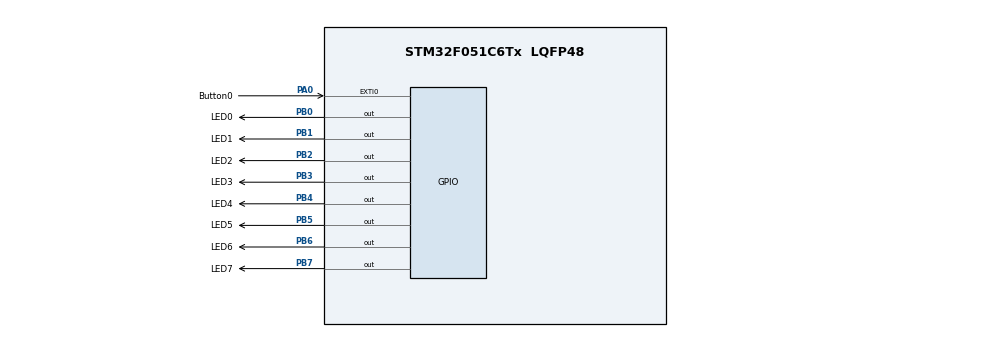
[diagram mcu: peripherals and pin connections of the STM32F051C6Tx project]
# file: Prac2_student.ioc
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Mcu.Family=STM32F0
Mcu.Name=STM32F051C6Tx
Mcu.Package=LQFP48
PA0.GPIO_Label=Button0
PA0.GPIO_ModeDefaultEXTI=GPIO_MODE_IT_RISING
PA0.GPIO_PuPd=GPIO_PULLUP
PA0.Signal=GPXTI0
PA13.Mode=Serial_Wire
PA13.Signal=SYS_SWDIO
PA14.Mode=Serial_Wire
PA14.Signal=SYS_SWCLK
PB0.GPIO_Label=LED0
PB0.Signal=GPIO_Output
PB1.GPIO_Label=LED1
PB1.Signal=GPIO_Output
PB2.GPIO_Label=LED2
PB2.Signal=GPIO_Output
PB3.GPIO_Label=LED3
PB3.Signal=GPIO_Output
PB4.GPIO_Label=LED4
PB4.Signal=GPIO_Output
PB5.GPIO_Label=LED5
PB5.Signal=GPIO_Output
PB6.GPIO_Label=LED6
PB6.Signal=GPIO_Output
PB7.GPIO_Label=LED7
PB7.Signal=GPIO_Output
PF0-OSC_IN.Mode=HSE-External-Oscillator
PF0-OSC_IN.Signal=RCC_OSC_IN
PF1-OSC_OUT.Mode=HSE-External-Oscillator
PF1-OSC_OUT.Signal=RCC_OSC_OUT
ProjectManager.HeapSize=0x200
ProjectManager.StackSize=0x400
ProjectManager.TargetToolchain=STM32CubeIDE
TIM16.AutoReloadPreload=TIM_AUTORELOAD_PRELOAD_ENABLE
TIM16.Period=1000-1
TIM16.Prescaler=8000-1
VP_TIM16_VS_ClockSourceINT.Mode=Enable_Timer
board=custom

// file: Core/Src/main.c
/* USER CODE BEGIN Header */
/**
  ******************************************************************************
  * @file           : main.c
  * @brief          : Main program body
  ******************************************************************************
  * @attention
  *
  * Copyright (c) 2023 STMicroelectronics.
  * All rights reserved.
  *
  * This software is licensed under terms that can be found in the LICENSE file
  * in the root directory of this software component.
  * If no LICENSE file comes with this software, it is provided AS-IS.
  *
  ******************************************************************************
  */
/* USER CODE END Header */
#include "main.h"

/* USER CODE BEGIN Includes */
#include <stdint.h>
#include "stm32f0xx.h"
/* USER CODE END Includes */

/* USER CODE BEGIN PD */

// Definitions for SPI usage
#define MEM_SIZE 8192 // bytes
#define WREN 0b00000110 // enable writing
#define WRDI 0b00000100 // disable writing
#define RDSR 0b00000101 // read status register
#define WRSR 0b00000001 // write status register
#define READ 0b00000011
#define WRITE 0b00000010

//my defintions
#define MAX_COUNTER 5
#define ERROR_PATTERN 0b00000001
#define ONE_SECOND_ARR 999
#define HALF_SECOND_ARR 499
/* USER CODE END PD */

TIM_HandleTypeDef htim16;

/* USER CODE BEGIN PV */
// TODO: Define any input variables
static uint8_t patterns[] = {0b10101010, 0b01010101, 0b11001100, 0b00110011, 0b11110000, 0b00001111};
int counter = -1;
uint8_t LedPattern;
static uint8_t button_was_pressed = 0;

/* USER CODE END PV */

void SystemClock_Config(void);
static void MX_GPIO_Init(void);
static void MX_TIM16_Init(void);
/* USER CODE BEGIN PFP */
void EXTI0_1_IRQHandler(void);
void TIM16_IRQHandler(void);
static void init_spi(void);
static void write_to_address(uint16_t address, uint8_t data);
static uint8_t read_from_address(uint16_t address);
static void delay(uint32_t delay_in_us);
void change_delay(void);
/* USER CODE END PFP */

int main(void)
{

  /* MCU Configuration--------------------------------------------------------*/

  /* Reset of all peripherals, Initializes the Flash interface and the Systick. */
  HAL_Init();

  /* Configure the system clock */
  SystemClock_Config();

  /* USER CODE BEGIN SysInit */
  init_spi();
  /* USER CODE END SysInit */

  /* Initialize all configured peripherals */
  MX_GPIO_Init();
  MX_TIM16_Init();
  /* USER CODE BEGIN 2 */

  // TODO: Start timer TIM16
  HAL_TIM_Base_Start_IT(&htim16);

  // TODO: Write all "patterns" to EEPROM using SPI
  for(int i = 0;i < 6; i++){
	  write_to_address(i,patterns[i]);
  }

  /* USER CODE END 2 */

  /* Infinite loop */
  while (1)
  {

    /* USER CODE BEGIN 3 */

	// TODO: Check button PA0; if pressed, change timer delay
	  change_delay();

  }
  /* USER CODE END 3 */
}

void SystemClock_Config(void)
{
  LL_FLASH_SetLatency(LL_FLASH_LATENCY_0);
  while(LL_FLASH_GetLatency() != LL_FLASH_LATENCY_0)
  {
  }
  LL_RCC_HSI_Enable();

   /* Wait till HSI is ready */
  while(LL_RCC_HSI_IsReady() != 1)
  {

  }
  LL_RCC_HSI_SetCalibTrimming(16);
  LL_RCC_SetAHBPrescaler(LL_RCC_SYSCLK_DIV_1);
  LL_RCC_SetAPB1Prescaler(LL_RCC_APB1_DIV_1);
  LL_RCC_SetSysClkSource(LL_RCC_SYS_CLKSOURCE_HSI);

   /* Wait till System clock is ready */
  while(LL_RCC_GetSysClkSource() != LL_RCC_SYS_CLKSOURCE_STATUS_HSI)
  {

  }
  LL_SetSystemCoreClock(8000000);

   /* Update the time base */
  if (HAL_InitTick (TICK_INT_PRIORITY) != HAL_OK)
  {
    Error_Handler();
  }
}

static void MX_TIM16_Init(void)
{

  htim16.Instance = TIM16;
  htim16.Init.Prescaler = 8000-1;
  htim16.Init.CounterMode = TIM_COUNTERMODE_UP;
  htim16.Init.Period = 1000-1;
  htim16.Init.ClockDivision = TIM_CLOCKDIVISION_DIV1;
  htim16.Init.RepetitionCounter = 0;
  htim16.Init.AutoReloadPreload = TIM_AUTORELOAD_PRELOAD_ENABLE;
  if (HAL_TIM_Base_Init(&htim16) != HAL_OK)
  {
    Error_Handler();
  }
  /* USER CODE BEGIN TIM16_Init 2 */
  NVIC_EnableIRQ(TIM16_IRQn);
  /* USER CODE END TIM16_Init 2 */

}

static void MX_GPIO_Init(void)
{
  LL_EXTI_InitTypeDef EXTI_InitStruct = {0};
  LL_GPIO_InitTypeDef GPIO_InitStruct = {0};

  /* GPIO Ports Clock Enable */
  LL_AHB1_GRP1_EnableClock(LL_AHB1_GRP1_PERIPH_GPIOF);
  LL_AHB1_GRP1_EnableClock(LL_AHB1_GRP1_PERIPH_GPIOA);
  LL_AHB1_GRP1_EnableClock(LL_AHB1_GRP1_PERIPH_GPIOB);

  /**/
  LL_GPIO_ResetOutputPin(LED0_GPIO_Port, LED0_Pin);

  /**/
  LL_GPIO_ResetOutputPin(LED1_GPIO_Port, LED1_Pin);

  /**/
  LL_GPIO_ResetOutputPin(LED2_GPIO_Port, LED2_Pin);

  /**/
  LL_GPIO_ResetOutputPin(LED3_GPIO_Port, LED3_Pin);

  /**/
  LL_GPIO_ResetOutputPin(LED4_GPIO_Port, LED4_Pin);

  /**/
  LL_GPIO_ResetOutputPin(LED5_GPIO_Port, LED5_Pin);

  /**/
  LL_GPIO_ResetOutputPin(LED6_GPIO_Port, LED6_Pin);

  /**/
  LL_GPIO_ResetOutputPin(LED7_GPIO_Port, LED7_Pin);

  /**/
  LL_SYSCFG_SetEXTISource(LL_SYSCFG_EXTI_PORTA, LL_SYSCFG_EXTI_LINE0);

  /**/
  LL_GPIO_SetPinPull(Button0_GPIO_Port, Button0_Pin, LL_GPIO_PULL_UP);

  /**/
  LL_GPIO_SetPinMode(Button0_GPIO_Port, Button0_Pin, LL_GPIO_MODE_INPUT);

  /**/
  EXTI_InitStruct.Line_0_31 = LL_EXTI_LINE_0;
  EXTI_InitStruct.LineCommand = ENABLE;
  EXTI_InitStruct.Mode = LL_EXTI_MODE_IT;
  EXTI_InitStruct.Trigger = LL_EXTI_TRIGGER_RISING;
  LL_EXTI_Init(&EXTI_InitStruct);

  /**/
  GPIO_InitStruct.Pin = LED0_Pin;
  GPIO_InitStruct.Mode = LL_GPIO_MODE_OUTPUT;
  GPIO_InitStruct.Speed = LL_GPIO_SPEED_FREQ_LOW;
  GPIO_InitStruct.OutputType = LL_GPIO_OUTPUT_PUSHPULL;
  GPIO_InitStruct.Pull = LL_GPIO_PULL_NO;
  LL_GPIO_Init(LED0_GPIO_Port, &GPIO_InitStruct);

  /**/
  GPIO_InitStruct.Pin = LED1_Pin;
  GPIO_InitStruct.Mode = LL_GPIO_MODE_OUTPUT;
  GPIO_InitStruct.Speed = LL_GPIO_SPEED_FREQ_LOW;
  GPIO_InitStruct.OutputType = LL_GPIO_OUTPUT_PUSHPULL;
  GPIO_InitStruct.Pull = LL_GPIO_PULL_NO;
  LL_GPIO_Init(LED1_GPIO_Port, &GPIO_InitStruct);

  /**/
  GPIO_InitStruct.Pin = LED2_Pin;
  GPIO_InitStruct.Mode = LL_GPIO_MODE_OUTPUT;
  GPIO_InitStruct.Speed = LL_GPIO_SPEED_FREQ_LOW;
  GPIO_InitStruct.OutputType = LL_GPIO_OUTPUT_PUSHPULL;
  GPIO_InitStruct.Pull = LL_GPIO_PULL_NO;
  LL_GPIO_Init(LED2_GPIO_Port, &GPIO_InitStruct);

  /**/
  GPIO_InitStruct.Pin = LED3_Pin;
  GPIO_InitStruct.Mode = LL_GPIO_MODE_OUTPUT;
  GPIO_InitStruct.Speed = LL_GPIO_SPEED_FREQ_LOW;
  GPIO_InitStruct.OutputType = LL_GPIO_OUTPUT_PUSHPULL;
  GPIO_InitStruct.Pull = LL_GPIO_PULL_NO;
  LL_GPIO_Init(LED3_GPIO_Port, &GPIO_InitStruct);

  /**/
  GPIO_InitStruct.Pin = LED4_Pin;
  GPIO_InitStruct.Mode = LL_GPIO_MODE_OUTPUT;
  GPIO_InitStruct.Speed = LL_GPIO_SPEED_FREQ_LOW;
  GPIO_InitStruct.OutputType = LL_GPIO_OUTPUT_PUSHPULL;
  GPIO_InitStruct.Pull = LL_GPIO_PULL_NO;
  LL_GPIO_Init(LED4_GPIO_Port, &GPIO_InitStruct);

  /**/
  GPIO_InitStruct.Pin = LED5_Pin;
  GPIO_InitStruct.Mode = LL_GPIO_MODE_OUTPUT;
  GPIO_InitStruct.Speed = LL_GPIO_SPEED_FREQ_LOW;
  GPIO_InitStruct.OutputType = LL_GPIO_OUTPUT_PUSHPULL;
  GPIO_InitStruct.Pull = LL_GPIO_PULL_NO;
  LL_GPIO_Init(LED5_GPIO_Port, &GPIO_InitStruct);

  /**/
  GPIO_InitStruct.Pin = LED6_Pin;
  GPIO_InitStruct.Mode = LL_GPIO_MODE_OUTPUT;
  GPIO_InitStruct.Speed = LL_GPIO_SPEED_FREQ_LOW;
  GPIO_InitStruct.OutputType = LL_GPIO_OUTPUT_PUSHPULL;
  GPIO_InitStruct.Pull = LL_GPIO_PULL_NO;
  LL_GPIO_Init(LED6_GPIO_Port, &GPIO_InitStruct);

  /**/
  GPIO_InitStruct.Pin = LED7_Pin;
  GPIO_InitStruct.Mode = LL_GPIO_MODE_OUTPUT;
  GPIO_InitStruct.Speed = LL_GPIO_SPEED_FREQ_LOW;
  GPIO_InitStruct.OutputType = LL_GPIO_OUTPUT_PUSHPULL;
  GPIO_InitStruct.Pull = LL_GPIO_PULL_NO;
  LL_GPIO_Init(LED7_GPIO_Port, &GPIO_InitStruct);

}

/* USER CODE BEGIN 4 */

// Initialise SPI
static void init_spi(void) {

  // Clock to PB
  RCC->AHBENR |= RCC_AHBENR_GPIOBEN; 	// Enable clock for SPI port

  // Set pin modes
  GPIOB->MODER |= GPIO_MODER_MODER13_1; // Set pin SCK (PB13) to Alternate Function
  GPIOB->MODER |= GPIO_MODER_MODER14_1; // Set pin MISO (PB14) to Alternate Function
  GPIOB->MODER |= GPIO_MODER_MODER15_1; // Set pin MOSI (PB15) to Alternate Function
  GPIOB->MODER |= GPIO_MODER_MODER12_0; // Set pin CS (PB12) to output push-pull
  GPIOB->BSRR |= GPIO_BSRR_BS_12; 		// Pull CS high

  // Clock enable to SPI
  RCC->APB1ENR |= RCC_APB1ENR_SPI2EN;
  SPI2->CR1 |= SPI_CR1_BIDIOE; 									// Enable output
  SPI2->CR1 |= (SPI_CR1_BR_0 |  SPI_CR1_BR_1); 					// Set Baud to fpclk / 16
  SPI2->CR1 |= SPI_CR1_MSTR; 									// Set to master mode
  SPI2->CR2 |= SPI_CR2_FRXTH; 									// Set RX threshold to be 8 bits
  SPI2->CR2 |= SPI_CR2_SSOE; 									// Enable slave output to work in master mode
  SPI2->CR2 |= (SPI_CR2_DS_0 | SPI_CR2_DS_1 | SPI_CR2_DS_2); 	// Set to 8-bit mode
  SPI2->CR1 |= SPI_CR1_SPE; 									// Enable the SPI peripheral
}

// Implements a delay in microseconds
static void delay(uint32_t delay_in_us) {
  volatile uint32_t counter = 0;
  delay_in_us *= 3;
  for(; counter < delay_in_us; counter++) {
    __asm("nop");
    __asm("nop");
  }
}

// Write to EEPROM address using SPI
static void write_to_address(uint16_t address, uint8_t data) {

	uint8_t dummy; // Junk from the DR

	// Set the Write Enable latch
	GPIOB->BSRR |= GPIO_BSRR_BR_12; // Pull CS low
	delay(1);
	*((uint8_t*)(&SPI2->DR)) = WREN;
	while ((SPI2->SR & SPI_SR_RXNE) == 0); // Hang while RX is empty
	dummy = SPI2->DR;
	GPIOB->BSRR |= GPIO_BSRR_BS_12; // Pull CS high
	delay(5000);

	// Send write instruction
	GPIOB->BSRR |= GPIO_BSRR_BR_12; 			// Pull CS low
	delay(1);
	*((uint8_t*)(&SPI2->DR)) = WRITE;
	while ((SPI2->SR & SPI_SR_RXNE) == 0); 		// Hang while RX is empty
	dummy = SPI2->DR;

	// Send 16-bit address
	*((uint8_t*)(&SPI2->DR)) = (address >> 8); 	// Address MSB
	while ((SPI2->SR & SPI_SR_RXNE) == 0); 		// Hang while RX is empty
	dummy = SPI2->DR;
	*((uint8_t*)(&SPI2->DR)) = (address); 		// Address LSB
	while ((SPI2->SR & SPI_SR_RXNE) == 0); 		// Hang while RX is empty
	dummy = SPI2->DR;

	// Send the data
	*((uint8_t*)(&SPI2->DR)) = data;
	while ((SPI2->SR & SPI_SR_RXNE) == 0); // Hang while RX is empty
	dummy = SPI2->DR;
	GPIOB->BSRR |= GPIO_BSRR_BS_12; // Pull CS high
	delay(5000);
}

// Read from EEPROM address using SPI
static uint8_t read_from_address(uint16_t address) {

	uint8_t dummy; // Junk from the DR

	// Send the read instruction
	GPIOB->BSRR |= GPIO_BSRR_BR_12; 			// Pull CS low
	delay(1);
	*((uint8_t*)(&SPI2->DR)) = READ;
	while ((SPI2->SR & SPI_SR_RXNE) == 0); 		// Hang while RX is empty
	dummy = SPI2->DR;

	// Send 16-bit address
	*((uint8_t*)(&SPI2->DR)) = (address >> 8); 	// Address MSB
	while ((SPI2->SR & SPI_SR_RXNE) == 0);		// Hang while RX is empty
	dummy = SPI2->DR;
	*((uint8_t*)(&SPI2->DR)) = (address); 		// Address LSB
	while ((SPI2->SR & SPI_SR_RXNE) == 0); 		// Hang while RX is empty
	dummy = SPI2->DR;

	// Clock in the data
	*((uint8_t*)(&SPI2->DR)) = 0x42; 			    // Clock out some junk data
	while ((SPI2->SR & SPI_SR_RXNE) == 0); 		// Hang while RX is empty
	dummy = SPI2->DR;
	GPIOB->BSRR |= GPIO_BSRR_BS_12; 			    // Pull CS high
	delay(5000);

	return dummy;								              // Return read data
}

// Timer rolled over
void TIM16_IRQHandler(void)
{
	// Acknowledge interrupt
	HAL_TIM_IRQHandler(&htim16);

	// TODO: Change to next LED pattern; output 0x01 if the read SPI data is incorrect
	    counter = (counter < MAX_COUNTER) ? counter + 1 : 0;

	    LedPattern = read_from_address(counter);

	    // Check against expected patterns unless counter has wrapped around
	    if (counter != 0 && LedPattern != patterns[counter])
	    {
	        LedPattern = ERROR_PATTERN;
	    }

	    GPIOB->ODR = LedPattern;  // Directly set the desired LED pattern

}

//cHANGING THE TIMER DELAY

void change_delay(void)
{
    // Check if button is currently pressed
    if (LL_GPIO_IsInputPinSet(Button0_GPIO_Port, Button0_Pin))
    {
        button_was_pressed = 1; // Mark that the button was pressed
    }
    // If the button was previously pressed and is now released
    else if (button_was_pressed)
    {
        // Toggle the timer delay
        if (htim16.Instance->ARR == ONE_SECOND_ARR)
        {
            // Change delay to 0.5 seconds
            htim16.Instance->ARR = HALF_SECOND_ARR;
        }
        else
        {
            // Change delay to 1 second
            htim16.Instance->ARR = ONE_SECOND_ARR;
        }

        button_was_pressed = 0; // Reset the flag for the next press
    }
}

/* USER CODE END 4 */

void Error_Handler(void)
{
  __disable_irq();
  while (1)
  {
  }
}
